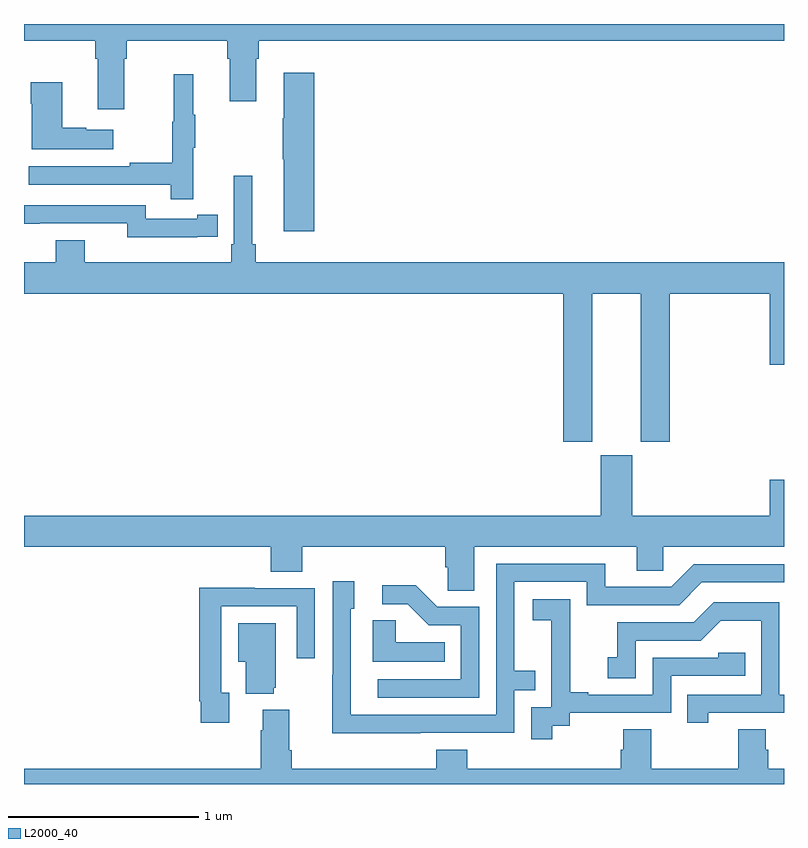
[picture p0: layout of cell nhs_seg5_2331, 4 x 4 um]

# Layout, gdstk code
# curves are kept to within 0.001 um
import gdstk
lib = gdstk.Library(unit=1e-6, precision=1e-09)
def P(c, l, *ps):  # polygons
    for p in ps: c.add(gdstk.Polygon(p, *l))
L2000_40 = (2000, 40)

nhs_seg5_2331 = lib.new_cell('nhs_seg5_2331')
P(nhs_seg5_2331, L2000_40, [(245.527,904.616),(245.54,904.616),(245.54,904.712),(246.071,904.712),(246.071,904.616),(246.083,904.616),(246.083,904.392),(246.223,904.392),(246.223,904.616),(246.236,904.616),(246.236,904.712),(249,904.712),(249,904.799),(245,904.799),(245,904.712),(245.375,904.712),(245.375,904.616),(245.387,904.616),(245.387,904.35),(245.527,904.35)],
  [(246.527,904.543),(246.368,904.543),(246.368,904.304),(246.361,904.304),(246.361,904.087),(246.368,904.087),(246.368,903.708),(246.527,903.708)],
  [(245.891,904.147),(245.902,904.147),(245.902,904.321),(245.891,904.321),(245.891,904.534),(245.788,904.534),(245.788,904.284),(245.781,904.284),(245.781,904.07),(245.557,904.07),(245.557,904.05),(245.025,904.05),(245.025,903.954),(245.773,903.954),(245.773,903.876),(245.891,903.876)],
  [(245.47,904.243),(245.327,904.243),(245.327,904.253),(245.2,904.253),(245.2,904.492),(245.035,904.492),(245.035,904.379),(245.042,904.379),(245.042,904.139),(245.47,904.139)],
  [(247.99,903.38),(248.246,903.38),(248.246,902.601),(248.399,902.601),(248.399,903.38),(248.924,903.38),(248.924,903.006),(249,903.006),(249,903.544),(246.221,903.544),(246.221,903.64),(246.202,903.64),(246.202,904),(246.105,904),(246.105,903.64),(246.092,903.64),(246.092,903.544),(245.32,903.544),(245.32,903.661),(245.168,903.661),(245.168,903.544),(245,903.544),(245,903.38),(247.838,903.38),(247.838,902.601),(247.99,902.601)],
  [(245.912,903.678),(246.02,903.678),(246.02,903.794),(245.912,903.794),(245.912,903.774),(245.64,903.774),(245.64,903.846),(245,903.846),(245,903.749),(245.084,903.749),(245.084,903.75),(245.544,903.75),(245.544,903.677),(245.912,903.677)],
  [(245,902.048),(246.299,902.048),(246.299,901.915),(246.464,901.915),(246.464,902.048),(247.217,902.048),(247.217,901.939),(247.23,901.939),(247.23,901.816),(247.369,901.816),(247.369,902.048),(248.225,902.048),(248.225,901.921),(248.364,901.921),(248.364,902.048),(249,902.048),(249,902.401),(248.924,902.401),(248.924,902.212),(248.2,902.212),(248.2,902.529),(248.036,902.529),(248.036,902.212),(245,902.212)],
  [(247.085,901.068),(247.581,901.068),(247.581,901.293),(247.691,901.293),(247.691,901.394),(247.581,901.394),(247.581,901.863),(247.962,901.863),(247.962,901.74),(248.448,901.74),(248.568,901.86),(249,901.86),(249,901.956),(248.526,901.956),(248.406,901.836),(248.059,901.836),(248.059,901.959),(247.485,901.959),(247.485,901.164),(246.72,901.164),(246.72,901.722),(246.739,901.722),(246.739,901.867),(246.624,901.867),(246.624,901.373),(246.622,901.373),(246.622,901.067)],
  [(247.395,901.731),(247.176,901.731),(247.063,901.844),(246.885,901.844),(246.885,901.746),(247.019,901.746),(247.13,901.635),(247.299,901.635),(247.299,901.35),(246.861,901.35),(246.861,901.254),(247.395,901.254)],
  [(246.079,901.278),(246.039,901.278),(246.039,901.734),(246.435,901.734),(246.435,901.461),(246.531,901.461),(246.531,901.83),(246.215,901.83),(246.215,901.832),(245.923,901.832),(245.923,901.234),(245.931,901.234),(245.931,901.122),(246.079,901.122)],
  [(247.78,901.105),(247.872,901.105),(247.872,901.173),(248.406,901.173),(248.406,901.368),(248.795,901.368),(248.795,901.491),(248.655,901.491),(248.655,901.464),(248.31,901.464),(248.31,901.269),(247.969,901.269),(247.969,901.282),(247.874,901.282),(247.874,901.565),(247.875,901.565),(247.875,901.771),(247.677,901.771),(247.677,901.661),(247.775,901.661),(247.775,901.433),(247.776,901.433),(247.776,901.203),(247.671,901.203),(247.671,901.035),(247.78,901.035)],
  [(248.602,901.173),(249,901.173),(249,901.269),(248.976,901.269),(248.976,901.755),(248.63,901.755),(248.525,901.65),(248.122,901.65),(248.122,901.465),(248.073,901.465),(248.073,901.356),(248.22,901.356),(248.22,901.554),(248.562,901.554),(248.666,901.658),(248.88,901.658),(248.88,901.269),(248.491,901.269),(248.491,901.122),(248.602,901.122)],
  [(247.214,901.546),(246.957,901.546),(246.957,901.661),(246.836,901.661),(246.836,901.442),(247.214,901.442)],
  [(246.314,901.305),(246.325,901.305),(246.325,901.645),(246.128,901.645),(246.128,901.442),(246.167,901.442),(246.167,901.274),(246.314,901.274)],
  [(249,900.88),(248.918,900.88),(248.918,900.978),(248.905,900.978),(248.905,901.088),(248.758,901.088),(248.758,900.88),(248.301,900.88),(248.301,901.088),(248.153,901.088),(248.153,900.978),(248.141,900.978),(248.141,900.88),(247.334,900.88),(247.334,900.979),(247.169,900.979),(247.169,900.88),(246.41,900.88),(246.41,900.976),(246.397,900.976),(246.397,901.189),(246.257,901.189),(246.257,901.082),(246.245,901.082),(246.245,900.88),(245,900.88),(245,900.799),(249,900.799)])

lib.write_gds('nhs_seg5_2331.gds')
